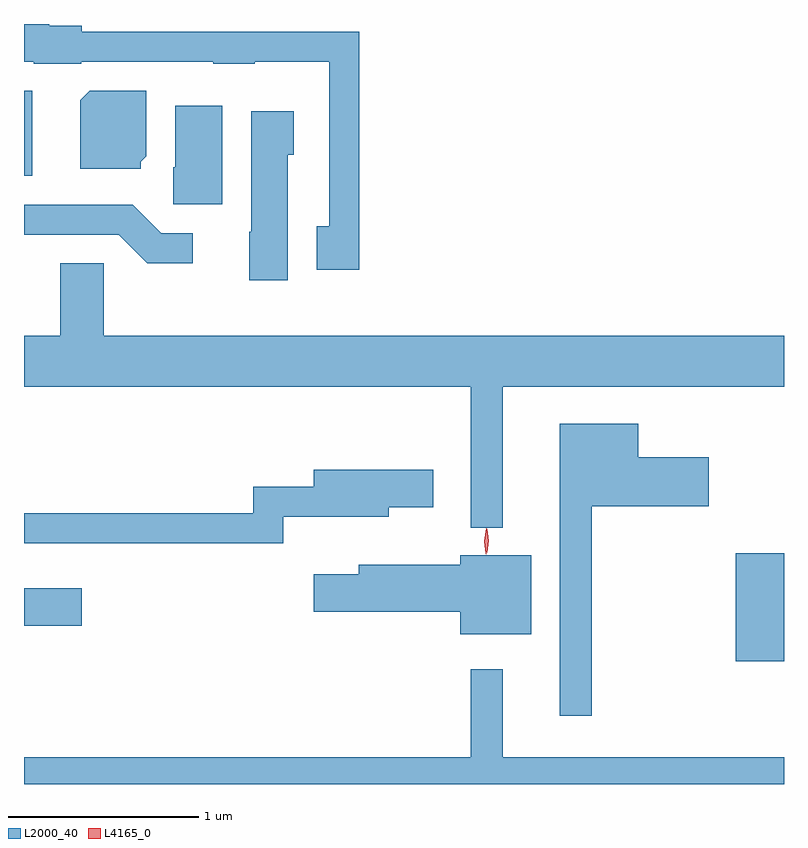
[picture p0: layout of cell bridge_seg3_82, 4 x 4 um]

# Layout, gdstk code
import gdstk
lib = gdstk.Library(unit=1e-6, precision=1e-09)
def R(c, l, rs):  # rectangles x0, y0, x1, y1
    for r in rs: c.add(gdstk.rectangle(r[:2], r[2:], *l))
def P(c, l, *ps):  # polygons
    for p in ps: c.add(gdstk.Polygon(p, *l))
L2000_40 = (2000, 40)
L4165_0 = (4165, 0)

bridge_seg3_82 = lib.new_cell('bridge_seg3_82')
R(bridge_seg3_82, L2000_40, [(1149.146,1162.311,1149.4,1162.879), (1145.4,1162.496,1145.704,1162.694), (1145.4,1164.866,1145.444,1165.314)])
P(bridge_seg3_82, L2000_40, [(1147.164,1165.624),(1145.704,1165.624),(1145.704,1165.654),(1145.534,1165.654),(1145.534,1165.664),(1145.4,1165.664),(1145.4,1165.466),(1145.45,1165.466),(1145.45,1165.456),(1145.7,1165.456),(1145.7,1165.466),(1146.395,1165.466),(1146.395,1165.456),(1146.615,1165.456),(1146.615,1165.466),(1147.006,1165.466),(1147.006,1164.599),(1146.941,1164.599),(1146.941,1164.371),(1147.164,1164.371)],
  [(1146.014,1164.939),(1146.044,1164.969),(1146.044,1165.314),(1145.747,1165.314),(1145.696,1165.264),(1145.696,1164.901),(1146.014,1164.901)],
  [(1146.444,1165.234),(1146.196,1165.234),(1146.196,1164.91),(1146.186,1164.91),(1146.186,1164.716),(1146.444,1164.716)],
  [(1146.789,1164.976),(1146.819,1164.976),(1146.819,1165.204),(1146.596,1165.204),(1146.596,1164.57),(1146.586,1164.57),(1146.586,1164.316),(1146.789,1164.316)],
  [(1146.288,1164.564),(1146.122,1164.564),(1145.972,1164.714),(1145.4,1164.714),(1145.4,1164.556),(1145.899,1164.556),(1146.049,1164.406),(1146.288,1164.406)],
  [(1147.919,1163.756),(1149.4,1163.756),(1149.4,1164.024),(1145.819,1164.024),(1145.819,1164.404),(1145.591,1164.404),(1145.591,1164.024),(1145.4,1164.024),(1145.4,1163.756),(1147.751,1163.756),(1147.751,1163.013),(1147.919,1163.013)],
  [(1148.389,1163.126),(1149.004,1163.126),(1149.004,1163.384),(1148.634,1163.384),(1148.634,1163.559),(1148.221,1163.559),(1148.221,1162.023),(1148.389,1162.023)],
  [(1146.764,1163.071),(1147.319,1163.071),(1147.319,1163.121),(1147.554,1163.121),(1147.554,1163.319),(1146.926,1163.319),(1146.926,1163.229),(1146.606,1163.229),(1146.606,1163.089),(1145.4,1163.089),(1145.4,1162.931),(1146.764,1162.931)],
  [(1148.069,1162.869),(1147.696,1162.869),(1147.696,1162.819),(1147.161,1162.819),(1147.161,1162.769),(1146.926,1162.769),(1146.926,1162.571),(1147.696,1162.571),(1147.696,1162.451),(1148.069,1162.451)],
  [(1149.4,1161.804),(1147.919,1161.804),(1147.919,1162.268),(1147.751,1162.268),(1147.751,1161.804),(1145.4,1161.804),(1145.4,1161.664),(1149.4,1161.664)])
P(bridge_seg3_82, L4165_0, [(1147.832,1162.874),(1147.831,1162.875),(1147.823,1162.942),(1147.833,1163.01),(1147.834,1163.01),(1147.834,1163.01),(1147.843,1162.942),(1147.832,1162.875)],
  [(1147.838,1162.881),(1147.838,1162.881),(1147.827,1162.944),(1147.836,1163.006),(1147.836,1163.007),(1147.837,1163.006),(1147.847,1162.944),(1147.838,1162.881)])

lib.write_gds('bridge_seg3_82.gds')
